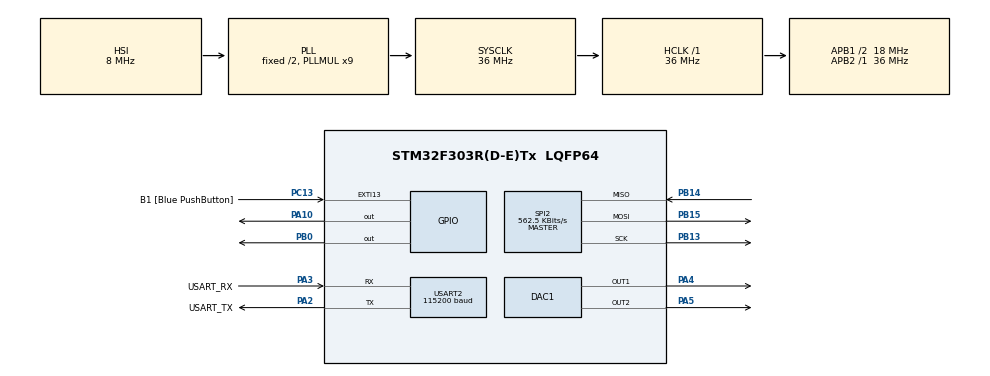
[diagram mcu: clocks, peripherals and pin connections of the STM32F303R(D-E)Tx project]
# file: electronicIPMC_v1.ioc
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DAC1.DAC_OutputBuffer=DAC_OUTPUTBUFFER_ENABLE
DAC1.DAC_OutputBuffer2=DAC_OUTPUTBUFFER_ENABLE
Mcu.Family=STM32F3
Mcu.Name=STM32F303R(D-E)Tx
Mcu.Package=LQFP64
NVIC.PriorityGroup=NVIC_PRIORITYGROUP_0
NVIC.TIM2_IRQn=true\:0\:0\:false\:false\:true\:true\:true\:true
NVIC.USART2_IRQn=true\:0\:0\:false\:false\:true\:true\:true\:true
PA10.Signal=GPIO_Output
PA13.GPIO_Label=TMS
PA13.Mode=Serial_Wire
PA13.Signal=SYS_JTMS-SWDIO
PA14.GPIO_Label=TCK
PA14.Mode=Serial_Wire
PA14.Signal=SYS_JTCK-SWCLK
PA2.GPIO_Label=USART_TX
PA2.GPIO_Mode=GPIO_MODE_AF_PP
PA2.GPIO_PuPd=GPIO_NOPULL
PA2.GPIO_Speed=GPIO_SPEED_FREQ_LOW
PA2.Mode=Asynchronous
PA2.Signal=USART2_TX
PA3.GPIO_Label=USART_RX
PA3.GPIO_Mode=GPIO_MODE_AF_PP
PA3.GPIO_PuPd=GPIO_NOPULL
PA3.GPIO_Speed=GPIO_SPEED_FREQ_LOW
PA3.Mode=Asynchronous
PA3.Signal=USART2_RX
PA4.Signal=SharedAnalog_PA4
PA5.Signal=SharedAnalog_PA5
PB0.Signal=GPIO_Output
PB13.Mode=Full_Duplex_Master
PB13.Signal=SPI2_SCK
PB14.Mode=Full_Duplex_Master
PB14.Signal=SPI2_MISO
PB15.Mode=Full_Duplex_Master
PB15.Signal=SPI2_MOSI
PB3.GPIO_Label=SWO
PB3.Signal=SYS_JTDO-TRACESWO
PC13.GPIO_Label=B1 [Blue PushButton]
PC13.GPIO_ModeDefaultEXTI=GPIO_MODE_IT_FALLING
PC13.Signal=GPXTI13
PC14-OSC32_IN.Mode=LSE-External-Oscillator
PC14-OSC32_IN.Signal=RCC_OSC32_IN
PC15-OSC32_OUT.Mode=LSE-External-Oscillator
PC15-OSC32_OUT.Signal=RCC_OSC32_OUT
PF0-OSC_IN.Mode=HSE-External-Clock-Source
PF0-OSC_IN.Signal=RCC_OSC_IN
PF1-OSC_OUT.Signal=RCC_OSC_OUT
ProjectManager.HeapSize=0x200
ProjectManager.StackSize=0x400
ProjectManager.TargetToolchain=STM32CubeIDE
RCC.AHBFreq_Value=36000000
RCC.APB1CLKDivider=RCC_HCLK_DIV2
RCC.APB1Freq_Value=18000000
RCC.APB1TimFreq_Value=36000000
RCC.APB2Freq_Value=36000000
RCC.APB2TimFreq_Value=36000000
RCC.CortexFreq_Value=36000000
RCC.HCLKFreq_Value=36000000
RCC.HSE_VALUE=8000000
RCC.HSI_VALUE=8000000
RCC.PLLM=8
RCC.PLLMUL=RCC_PLL_MUL9
RCC.PLLN=336
RCC.PLLP=RCC_PLLP_DIV4
RCC.PLLQ=7
RCC.RCC_PLLsource_Clock_Source_FROM_HSE=RCC_HSE_PREDIV_DIV2
RCC.SYSCLKFreq_VALUE=36000000
RCC.SYSCLKSourceVirtual=RCC_SYSCLKSOURCE_PLLCLK
RCC.USBFreq_Value=36000000
SH.SharedAnalog_PA4.0=GPIO_Analog
SH.SharedAnalog_PA4.1=DAC1_OUT1,DAC_OUT1
SH.SharedAnalog_PA5.0=GPIO_Analog
SH.SharedAnalog_PA5.1=DAC1_OUT2,Enable_DAC_OUT2
SPI2.BaudRatePrescaler=SPI_BAUDRATEPRESCALER_32
SPI2.CalculateBaudRate=562.5 KBits/s
SPI2.DataSize=SPI_DATASIZE_8BIT
SPI2.Direction=SPI_DIRECTION_2LINES
SPI2.Mode=SPI_MODE_MASTER
SPI2.VirtualType=VM_MASTER
TIM2.AutoReloadPreload=TIM_AUTORELOAD_PRELOAD_ENABLE
TIM2.Period=11999
TIM3.AutoReloadPreload=TIM_AUTORELOAD_PRELOAD_ENABLE
TIM3.Period=11999
USART2.BaudRate=115200
USART2.VirtualMode-Asynchronous=VM_ASYNC
VP_TIM2_VS_ClockSourceINT.Mode=Internal
VP_TIM3_VS_ClockSourceINT.Mode=Internal
board=NUCLEO-F303RE

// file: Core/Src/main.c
/* USER CODE BEGIN Header */
/**
  ******************************************************************************
  * @file           : main.c
  * @brief          : Main program body
  ******************************************************************************
  * @attention
  *
  * Copyright (c) 2025 STMicroelectronics.
  * All rights reserved.
  *
  * This software is licensed under terms that can be found in the LICENSE file
  * in the root directory of this software component.
  * If no LICENSE file comes with this software, it is provided AS-IS.
  *
  ******************************************************************************
  */
/* USER CODE END Header */
#include "main.h"

/* USER CODE BEGIN Includes */
#include <stdlib.h>
#include <stdio.h>
#include <string.h>
/* USER CODE END Includes */

/* USER CODE BEGIN PTD */
#define START_COMMAND 'S'   // Command to start communication
#define STOP_COMMAND  'E'
#define RESPONSE_NUMBER 1   // Response number to send back
/* USER CODE END PTD */

DAC_HandleTypeDef hdac1;

SPI_HandleTypeDef hspi2;

TIM_HandleTypeDef htim2;
TIM_HandleTypeDef htim3;

UART_HandleTypeDef huart2;

/* USER CODE BEGIN PV */
#define RX_BUFFER_SIZE 10
uint8_t rx_byte;
uint8_t uart_rx_buffer[RX_BUFFER_SIZE];  // Almacena la cadena recibida
uint8_t temp_index = 0;            // Indice del buffer

volatile uint8_t wave_type = 0; // 0 = Sinusoidal, 1 = Square, 2 = Sawtooth, 3 = Triangular

//#define QUARTER_WAVE_POINTS 50 // Points for one-quarter of the wave
//const uint16_t sine_wave[QUARTER_WAVE_POINTS] = {
//		2047, 2111, 2175, 2239, 2303, 2367, 2430, 2493, 2556, 2618, 2679, 2740, 2800, 2859, 2918, 2976, 3033, 3089, 3143, 3197, 3250, 3301, 3351, 3400, 3448, 3494, 3539, 3582, 3624, 3664, 3703, 3740, 3775, 3808, 3840, 3870, 3899, 3925, 3950, 3972, 3993, 4012, 4029, 4044, 4057, 4068, 4077, 4084, 4089, 4092
//		};

#define SINE_WAVE_POINTS 200
const uint16_t sine_wave[SINE_WAVE_POINTS] = {
		1737, 1785, 1834, 1882, 1931, 1979, 2027, 2075, 2122, 2169, 2216, 2262, 2307, 2352, 2397, 2441, 2484, 2526, 2568, 2608, 2648, 2687, 2725, 2762, 2798, 2833, 2867, 2900, 2932, 2962, 2991, 3019, 3046, 3072, 3096, 3118, 3140, 3160, 3179, 3196, 3212, 3226, 3239, 3250, 3260, 3268, 3275, 3281, 3284, 3287, 3288, 3287, 3284, 3281, 3275, 3268, 3260, 3250, 3239, 3226, 3212, 3196, 3179, 3160, 3140, 3118, 3096, 3072, 3046, 3019, 2991, 2962, 2932, 2900, 2867, 2833, 2798, 2762, 2725, 2687, 2648, 2608, 2568, 2526, 2484, 2441, 2397, 2352, 2307, 2262, 2216, 2169, 2122, 2075, 2027, 1979, 1931, 1882, 1834, 1785, 1737, 1688, 1639, 1591,
		1542, 1494, 1446, 1398, 1351, 1304, 1257, 1211, 1166, 1121, 1076, 1032, 989, 947, 905, 865, 825, 786, 748, 711, 675, 640, 606, 573, 541, 511, 482, 454, 427, 401, 377, 355, 333, 313, 294, 277, 261, 247, 234, 223, 213, 205, 198, 192, 189, 186, 186, 186, 189, 192, 198, 205, 213, 223, 234, 247, 261, 277, 294, 313, 333, 355, 377, 401, 427, 454, 482, 511, 541, 573, 606, 640, 675, 711, 748, 786, 825, 865, 905, 947, 989, 1032, 1076, 1121, 1166, 1211, 1257, 1304, 1351, 1398, 1446, 1494, 1542, 1591, 1639, 1688
		};

// TO GENERATE WITH 1.67V amplitude
//const uint16_t sine_wave[SINE_WAVE_POINTS] = {
//		2047, 2108, 2169, 2230, 2291, 2351, 2412, 2471, 2531, 2590, 2648, 2706, 2764, 2820, 2876, 2931, 2985, 3038, 3090, 3141, 3192, 3240, 3288, 3335, 3380, 3424, 3467, 3508, 3547, 3586, 3622, 3658, 3691, 3723, 3754, 3782, 3809, 3834, 3858, 3879, 3899, 3917, 3933, 3948, 3960, 3971, 3979, 3986, 3991, 3994, 3995, 3994, 3991, 3986, 3979, 3971, 3960, 3948, 3933, 3917, 3899, 3879, 3858, 3834, 3809, 3782, 3754, 3723, 3691, 3658, 3622, 3586, 3547, 3508, 3467, 3424, 3380, 3335, 3288, 3240, 3192, 3141, 3090, 3038, 2985, 2931, 2876, 2820, 2764, 2706, 2648, 2590, 2531, 2471, 2412, 2351, 2291, 2230, 2169, 2108, 2047, 1985, 1924, 1863, 1802, 1742, 1681, 1622, 1562, 1503, 1445, 1387, 1329, 1273, 1217, 1162, 1108, 1055, 1003, 952, 901, 853, 805, 758, 713, 669, 626, 585, 546,
//		507, 471, 435, 402, 370, 339, 311, 284, 259, 235, 214, 194, 176, 160, 145, 133, 122, 114, 107, 102, 99, 99, 99, 102, 107, 114, 122, 133, 145, 160, 176, 194, 214, 235, 259, 284, 311, 339, 370, 402, 435, 471, 507, 546, 585, 626, 669, 713, 758, 805, 853, 901, 952, 1003, 1055, 1108, 1162, 1217, 1273, 1329, 1387, 1445, 1503, 1562, 1622, 1681, 1742, 1802, 1863, 1924, 1985
//		};

#define SAWTOOTH_POINTS 200
const uint16_t sawtooth_wave[SAWTOOTH_POINTS] = {
		186, 201, 217, 232, 248, 263, 279, 295, 310, 326, 341, 357, 373, 388, 404, 419, 435, 450, 466, 482, 497, 513, 528, 544, 560, 575, 591, 606, 622, 638, 653, 669, 684, 700, 715, 731, 747, 762, 778, 793, 809, 825, 840, 856, 871, 887, 903, 918, 934, 949, 965, 980, 996, 1012, 1027, 1043, 1058, 1074, 1090, 1105, 1121, 1136, 1152, 1168, 1183, 1199, 1214, 1230, 1245, 1261, 1277, 1292, 1308, 1323, 1339, 1355, 1370, 1386, 1401, 1417, 1433, 1448, 1464, 1479, 1495, 1510, 1526, 1542, 1557, 1573, 1588, 1604, 1620, 1635, 1651, 1666, 1682, 1698, 1713, 1729, 1744, 1760, 1775, 1791, 1807, 1822, 1838, 1853, 1869, 1885, 1900, 1916, 1931, 1947, 1963, 1978, 1994, 2009, 2025, 2040, 2056, 2072, 2087, 2103, 2118, 2134, 2150, 2165, 2181, 2196, 2212, 2228, 2243, 2259, 2274, 2290, 2305, 2321, 2337, 2352, 2368, 2383, 2399, 2415, 2430, 2446, 2461, 2477, 2493, 2508, 2524, 2539, 2555, 2570, 2586, 2602, 2617, 2633, 2648, 2664, 2680, 2695, 2711, 2726, 2742, 2758, 2773, 2789, 2804, 2820, 2835, 2851, 2867, 2882, 2898, 2913, 2929, 2945, 2960, 2976, 2991, 3007, 3023, 3038, 3054, 3069, 3085, 3100, 3116, 3132, 3147, 3163, 3178, 3194, 3210, 3225, 3241, 3256, 3272, 3288
};

const uint16_t square_wave[2] = {0, 4095};
/* USER CODE END PV */

void SystemClock_Config(void);
static void MX_GPIO_Init(void);
static void MX_USART2_UART_Init(void);
static void MX_DAC1_Init(void);
static void MX_TIM2_Init(void);
static void MX_SPI2_Init(void);
static void MX_TIM3_Init(void);
/* USER CODE BEGIN PFP */
void MCP41100_SetValue(uint8_t value, uint8_t sensor);
uint8_t calculateValuePotentiometer(uint8_t amplitude);
/* USER CODE END PFP */

/* USER CODE BEGIN 0 */
void WaitForConnection(void)
{
    const char msg[] = "IPMC_READY\n";
    uint8_t received_byte = 0;

    while (received_byte != START_COMMAND)
    {
        HAL_UART_Transmit(&huart2, (uint8_t*)msg, sizeof(msg) - 1, HAL_MAX_DELAY);
        HAL_UART_Receive(&huart2, &received_byte, 1, 1000);  // Timeout de 1 segundo
        if (received_byte != START_COMMAND) {
        	HAL_Delay(1000);
        }
    }
    uint8_t response = RESPONSE_NUMBER;
	HAL_UART_Transmit(&huart2, &response, sizeof(response), HAL_MAX_DELAY);
}
/* USER CODE END 0 */

int main(void)
{

  /* MCU Configuration--------------------------------------------------------*/

  /* Reset of all peripherals, Initializes the Flash interface and the Systick. */
  HAL_Init();

  /* Configure the system clock */
  SystemClock_Config();

  /* Initialize all configured peripherals */
  MX_GPIO_Init();
  MX_USART2_UART_Init();
  MX_DAC1_Init();
  MX_TIM2_Init();
  MX_SPI2_Init();
  MX_TIM3_Init();
  /* USER CODE BEGIN 2 */
  HAL_DAC_Start(&hdac1, DAC_CHANNEL_1);
    HAL_DAC_Start(&hdac1, DAC_CHANNEL_2);

//    uint8_t buff_start = 0;
//    while(buff_start != START_COMMAND){
//    	  HAL_UART_Receive(&huart2, (uint8_t*)(&buff_start),sizeof(buff_start),1000);
//    }
//    uint8_t response = RESPONSE_NUMBER;
//    HAL_UART_Transmit(&huart2, &response, sizeof(response), HAL_MAX_DELAY);
    WaitForConnection();

  /* Start the Timer in Interrupt mode */
    HAL_TIM_Base_Start_IT(&htim2);

    HAL_UART_Receive_IT(&huart2, &rx_byte, 1);

//    HAL_GPIO_WritePin(GPIOB, GPIO_PIN_13, GPIO_PIN_SET);
  /* USER CODE END 2 */

  /* Infinite loop */
  while (1)
  {

  }
}

void SystemClock_Config(void)
{
  RCC_OscInitTypeDef RCC_OscInitStruct = {0};
  RCC_ClkInitTypeDef RCC_ClkInitStruct = {0};
  RCC_PeriphCLKInitTypeDef PeriphClkInit = {0};

  /** Initializes the RCC Oscillators according to the specified parameters
  * in the RCC_OscInitTypeDef structure.
  */
  RCC_OscInitStruct.OscillatorType = RCC_OSCILLATORTYPE_HSI;
  RCC_OscInitStruct.HSIState = RCC_HSI_ON;
  RCC_OscInitStruct.HSICalibrationValue = RCC_HSICALIBRATION_DEFAULT;
  RCC_OscInitStruct.PLL.PLLState = RCC_PLL_ON;
  RCC_OscInitStruct.PLL.PLLSource = RCC_PLLSOURCE_HSI;
  RCC_OscInitStruct.PLL.PLLMUL = RCC_PLL_MUL9;
  RCC_OscInitStruct.PLL.PREDIV = RCC_PREDIV_DIV1;
  if (HAL_RCC_OscConfig(&RCC_OscInitStruct) != HAL_OK)
  {
    Error_Handler();
  }

  /** Initializes the CPU, AHB and APB buses clocks
  */
  RCC_ClkInitStruct.ClockType = RCC_CLOCKTYPE_HCLK|RCC_CLOCKTYPE_SYSCLK
                              |RCC_CLOCKTYPE_PCLK1|RCC_CLOCKTYPE_PCLK2;
  RCC_ClkInitStruct.SYSCLKSource = RCC_SYSCLKSOURCE_PLLCLK;
  RCC_ClkInitStruct.AHBCLKDivider = RCC_SYSCLK_DIV1;
  RCC_ClkInitStruct.APB1CLKDivider = RCC_HCLK_DIV2;
  RCC_ClkInitStruct.APB2CLKDivider = RCC_HCLK_DIV1;

  if (HAL_RCC_ClockConfig(&RCC_ClkInitStruct, FLASH_LATENCY_1) != HAL_OK)
  {
    Error_Handler();
  }
  PeriphClkInit.PeriphClockSelection = RCC_PERIPHCLK_USART2|RCC_PERIPHCLK_TIM2
                              |RCC_PERIPHCLK_TIM34;
  PeriphClkInit.Usart2ClockSelection = RCC_USART2CLKSOURCE_PCLK1;
  PeriphClkInit.Tim2ClockSelection = RCC_TIM2CLK_HCLK;
  PeriphClkInit.Tim34ClockSelection = RCC_TIM34CLK_HCLK;
  if (HAL_RCCEx_PeriphCLKConfig(&PeriphClkInit) != HAL_OK)
  {
    Error_Handler();
  }
}

static void MX_DAC1_Init(void)
{

  DAC_ChannelConfTypeDef sConfig = {0};

  /** DAC Initialization
  */
  hdac1.Instance = DAC1;
  if (HAL_DAC_Init(&hdac1) != HAL_OK)
  {
    Error_Handler();
  }

  /** DAC channel OUT1 config
  */
  sConfig.DAC_Trigger = DAC_TRIGGER_NONE;
  sConfig.DAC_OutputBuffer = DAC_OUTPUTBUFFER_ENABLE;
  if (HAL_DAC_ConfigChannel(&hdac1, &sConfig, DAC_CHANNEL_1) != HAL_OK)
  {
    Error_Handler();
  }

  /** DAC channel OUT2 config
  */
  if (HAL_DAC_ConfigChannel(&hdac1, &sConfig, DAC_CHANNEL_2) != HAL_OK)
  {
    Error_Handler();
  }

}

static void MX_SPI2_Init(void)
{

  /* SPI2 parameter configuration*/
  hspi2.Instance = SPI2;
  hspi2.Init.Mode = SPI_MODE_MASTER;
  hspi2.Init.Direction = SPI_DIRECTION_2LINES;
  hspi2.Init.DataSize = SPI_DATASIZE_8BIT;
  hspi2.Init.CLKPolarity = SPI_POLARITY_LOW;
  hspi2.Init.CLKPhase = SPI_PHASE_1EDGE;
  hspi2.Init.NSS = SPI_NSS_SOFT;
  hspi2.Init.BaudRatePrescaler = SPI_BAUDRATEPRESCALER_32;
  hspi2.Init.FirstBit = SPI_FIRSTBIT_MSB;
  hspi2.Init.TIMode = SPI_TIMODE_DISABLE;
  hspi2.Init.CRCCalculation = SPI_CRCCALCULATION_DISABLE;
  hspi2.Init.CRCPolynomial = 7;
  hspi2.Init.CRCLength = SPI_CRC_LENGTH_DATASIZE;
  hspi2.Init.NSSPMode = SPI_NSS_PULSE_ENABLE;
  if (HAL_SPI_Init(&hspi2) != HAL_OK)
  {
    Error_Handler();
  }

}

static void MX_TIM2_Init(void)
{

  TIM_ClockConfigTypeDef sClockSourceConfig = {0};
  TIM_MasterConfigTypeDef sMasterConfig = {0};

  htim2.Instance = TIM2;
  htim2.Init.Prescaler = 0;
  htim2.Init.CounterMode = TIM_COUNTERMODE_UP;
  htim2.Init.Period = 11999;
  htim2.Init.ClockDivision = TIM_CLOCKDIVISION_DIV1;
  htim2.Init.AutoReloadPreload = TIM_AUTORELOAD_PRELOAD_ENABLE;
  if (HAL_TIM_Base_Init(&htim2) != HAL_OK)
  {
    Error_Handler();
  }
  sClockSourceConfig.ClockSource = TIM_CLOCKSOURCE_INTERNAL;
  if (HAL_TIM_ConfigClockSource(&htim2, &sClockSourceConfig) != HAL_OK)
  {
    Error_Handler();
  }
  sMasterConfig.MasterOutputTrigger = TIM_TRGO_RESET;
  sMasterConfig.MasterSlaveMode = TIM_MASTERSLAVEMODE_DISABLE;
  if (HAL_TIMEx_MasterConfigSynchronization(&htim2, &sMasterConfig) != HAL_OK)
  {
    Error_Handler();
  }

}

static void MX_TIM3_Init(void)
{

  TIM_ClockConfigTypeDef sClockSourceConfig = {0};
  TIM_MasterConfigTypeDef sMasterConfig = {0};

  htim3.Instance = TIM3;
  htim3.Init.Prescaler = 0;
  htim3.Init.CounterMode = TIM_COUNTERMODE_UP;
  htim3.Init.Period = 11999;
  htim3.Init.ClockDivision = TIM_CLOCKDIVISION_DIV1;
  htim3.Init.AutoReloadPreload = TIM_AUTORELOAD_PRELOAD_ENABLE;
  if (HAL_TIM_Base_Init(&htim3) != HAL_OK)
  {
    Error_Handler();
  }
  sClockSourceConfig.ClockSource = TIM_CLOCKSOURCE_INTERNAL;
  if (HAL_TIM_ConfigClockSource(&htim3, &sClockSourceConfig) != HAL_OK)
  {
    Error_Handler();
  }
  sMasterConfig.MasterOutputTrigger = TIM_TRGO_RESET;
  sMasterConfig.MasterSlaveMode = TIM_MASTERSLAVEMODE_DISABLE;
  if (HAL_TIMEx_MasterConfigSynchronization(&htim3, &sMasterConfig) != HAL_OK)
  {
    Error_Handler();
  }

}

static void MX_USART2_UART_Init(void)
{

  huart2.Instance = USART2;
  huart2.Init.BaudRate = 115200;
  huart2.Init.WordLength = UART_WORDLENGTH_8B;
  huart2.Init.StopBits = UART_STOPBITS_1;
  huart2.Init.Parity = UART_PARITY_NONE;
  huart2.Init.Mode = UART_MODE_TX_RX;
  huart2.Init.HwFlowCtl = UART_HWCONTROL_NONE;
  huart2.Init.OverSampling = UART_OVERSAMPLING_16;
  huart2.Init.OneBitSampling = UART_ONE_BIT_SAMPLE_DISABLE;
  huart2.AdvancedInit.AdvFeatureInit = UART_ADVFEATURE_NO_INIT;
  if (HAL_UART_Init(&huart2) != HAL_OK)
  {
    Error_Handler();
  }

}

static void MX_GPIO_Init(void)
{
  GPIO_InitTypeDef GPIO_InitStruct = {0};

  /* GPIO Ports Clock Enable */
  __HAL_RCC_GPIOC_CLK_ENABLE();
  __HAL_RCC_GPIOF_CLK_ENABLE();
  __HAL_RCC_GPIOA_CLK_ENABLE();
  __HAL_RCC_GPIOB_CLK_ENABLE();

  /*Configure GPIO pin Output Level */
  HAL_GPIO_WritePin(GPIOB, GPIO_PIN_0, GPIO_PIN_RESET);

  /*Configure GPIO pin Output Level */
  HAL_GPIO_WritePin(GPIOA, GPIO_PIN_10, GPIO_PIN_RESET);

  /*Configure GPIO pin : B1_Pin */
  GPIO_InitStruct.Pin = B1_Pin;
  GPIO_InitStruct.Mode = GPIO_MODE_IT_FALLING;
  GPIO_InitStruct.Pull = GPIO_NOPULL;
  HAL_GPIO_Init(B1_GPIO_Port, &GPIO_InitStruct);

  /*Configure GPIO pin : PB0 */
  GPIO_InitStruct.Pin = GPIO_PIN_0;
  GPIO_InitStruct.Mode = GPIO_MODE_OUTPUT_PP;
  GPIO_InitStruct.Pull = GPIO_NOPULL;
  GPIO_InitStruct.Speed = GPIO_SPEED_FREQ_LOW;
  HAL_GPIO_Init(GPIOB, &GPIO_InitStruct);

  /*Configure GPIO pin : PA10 */
  GPIO_InitStruct.Pin = GPIO_PIN_10;
  GPIO_InitStruct.Mode = GPIO_MODE_OUTPUT_PP;
  GPIO_InitStruct.Pull = GPIO_NOPULL;
  GPIO_InitStruct.Speed = GPIO_SPEED_FREQ_LOW;
  HAL_GPIO_Init(GPIOA, &GPIO_InitStruct);

}

/* USER CODE BEGIN 4 */
uint16_t get_sine_value() {
    static uint16_t index = 0;

    uint16_t value = sine_wave[index];

    // Increment the index and wrap around for the next cycle
    index = (index + 1) % SINE_WAVE_POINTS;

    return value;
}

uint16_t get_sawtooth_value() {
    static uint8_t index = 0;
    uint16_t value = sawtooth_wave[index];
    index = (index + 1) % SAWTOOTH_POINTS;  // Increment index and restart at startup
    return value;
}

uint16_t get_triangular_value() {
    static uint8_t index = 0;       // Current index in the wave table
    static int8_t direction = 1;    // Direction: 1 for ascending, -1 for descending

    // Get the current value from the sawtooth wave table
    uint16_t value = sawtooth_wave[index];

    // Update the index based on the current direction
    if (direction == 1) { // Ascending
        if (index == SAWTOOTH_POINTS - 2) { // If at or near the maximum value
            direction = -1; // Switch to descending
            index -= 2;     // Ensure the next step starts descending
        } else {
            index += 2; // Move to the next value
        }
    } else { // Descending
        if (index <= 1) { // If at or near the minimum value
            direction = 1; // Switch to ascending
            index += 2;    // Ensure the next step starts ascending
        } else {
            index-=2; // Move to the previous value
        }
    }

    return value; // Return the current wave value
}

uint16_t get_square_value() {
	static uint8_t counter = 0; // Counter to track the current step

	// Determine value directly based on counter
	uint16_t value = (counter < SAWTOOTH_POINTS / 2) ? 3288 : 0;

	// Increment counter and wrap around at the end of the cycle
	counter = (counter + 1) % SAWTOOTH_POINTS;

	// Return the current value
	return value;
}

void HAL_TIM_PeriodElapsedCallback(TIM_HandleTypeDef *htim){
	uint16_t valueAct;
	switch (wave_type) {
		case 0: // Sinusoidal
			valueAct = get_sine_value();
			break;
		case 1: // Square
			valueAct = get_square_value();
			break;
		case 2: // Sawtooth
			valueAct = get_sawtooth_value();
			break;
		case 3: // Triangular
			valueAct = get_triangular_value();
			break;
		default:
			valueAct = 0;
			break;
	}
	HAL_DAC_SetValue(&hdac1,DAC_CHANNEL_1, DAC_ALIGN_12B_R, valueAct);
	HAL_DAC_SetValue(&hdac1,DAC_CHANNEL_2, DAC_ALIGN_12B_R, valueAct+25); // Añado 25 para que salgan identicas
//	HAL_DACEx_DualSetValue(&hdac1, DAC_ALIGN_12B_R, valueAct, valueAct);
}

void parse_command(uint8_t *command) {
    // Check if it's a frequency command
	switch (command[0]) {
		case 'T':{
			wave_type = atoi((char *)(command + 2));
//			uint8_t response = 1;
//			HAL_UART_Transmit(&huart2, &response, 1, HAL_MAX_DELAY); // Send 1 (success)
			break;
		}

	    case 'F': {
	        // Handle frequency command
	        uint16_t frequency;
	        frequency = atoi((char *)(command + 2)); // Convert string to integer
	        __HAL_TIM_SET_AUTORELOAD(&htim2, 3599999UL / frequency);
	        uint8_t response = 1;
	        HAL_UART_Transmit(&huart2, &response, 1, HAL_MAX_DELAY); // Send 1 (success)
	        break;
	    }

	    case 'A': {
	        // Handle amplitude command
	        uint8_t amplitude;
	        amplitude = atoi((char *)(command + 2)); // Convert string to integer
	        //////////////////// AQUI PONER EL CODIGO NECESARIO PARA CAMBIAR LA AMPLITUD
	        uint8_t stepPot;
	        stepPot = calculateValuePotentiometer(amplitude);
	        if (command[1] == '1'){
	        	MCP41100_SetValue(stepPot, 1);
			}
			if (command[1] == '2'){
				MCP41100_SetValue(stepPot, 2);
			}
			if (command[1] == '0'){
				MCP41100_SetValue(stepPot, 0);
			}
	        uint8_t response = 1;
	        HAL_UART_Transmit(&huart2, &response, 1, HAL_MAX_DELAY); // Send 1 (success)
	        break;
	    }

	    default:
	        // Handle invalid command
	    	uint8_t response = 0;
	        HAL_UART_Transmit(&huart2, &response, 1, HAL_MAX_DELAY); // Send 0 (error)
	        break;
	}
}

void HAL_UART_RxCpltCallback(UART_HandleTypeDef *huart) {
    if (huart->Instance == USART2) {
//        HAL_GPIO_TogglePin(GPIOB, GPIO_PIN_13);

        if (rx_byte == STOP_COMMAND) {
        	uint8_t response = RESPONSE_NUMBER;
        	HAL_UART_Transmit(&huart2, &response, sizeof(response), HAL_MAX_DELAY);
        	NVIC_SystemReset();
        }

        if (rx_byte == '\n') {        // Detectar fin de la cadena (por ejemplo, '\n')
			uart_rx_buffer[temp_index] = '\0';  // Terminar la cadena
			parse_command(uart_rx_buffer);

			temp_index = 0;  // Reiniciar índice para el siguiente número
		} else {
			if (temp_index < RX_BUFFER_SIZE - 1) {
				uart_rx_buffer[temp_index++] = rx_byte;  // Almacenar el carácter en el buffer
			} else {
				// Buffer lleno, manejar error
				char error_msg[] = "Error: Buffer overflow\r\n";
				HAL_UART_Transmit(&huart2, (uint8_t *)error_msg, sizeof(error_msg) - 1, HAL_MAX_DELAY);
				temp_index = 0;  // Reiniciar el buffer
			}
		}
        HAL_UART_Receive_IT(&huart2, (uint8_t *)&rx_byte, 1);
    }
}

void MCP41100_SetValue(uint8_t value, uint8_t sensor) {
    // Asegúrate de que el valor esté en el rango de 0 a 255
    if (value > 255) value = 255;

    // Prepara los datos a enviar
    uint8_t data[2];
    data[0] = 0x11; // Comando para escribir al Potenciómetro 0
    data[1] = value; // Valor del potenciómetro
    if (sensor == 1 || sensor == 0){
		// Baja NSS (selecciona el dispositivo)
		HAL_GPIO_WritePin(GPIOB, GPIO_PIN_0, GPIO_PIN_RESET);
//		HAL_GPIO_WritePin(GPIOB, GPIO_PIN_12, GPIO_PIN_RESET);
		// Envía los datos al MCP41100
		HAL_SPI_Transmit(&hspi2, data, 2, HAL_MAX_DELAY);
		// Sube NSS (deselecciona el dispositivo)
		HAL_GPIO_WritePin(GPIOB, GPIO_PIN_0, GPIO_PIN_SET);
    }
    if (sensor == 2 || sensor == 0){
		HAL_GPIO_WritePin(GPIOA, GPIO_PIN_10, GPIO_PIN_RESET);
//		HAL_GPIO_WritePin(GPIOB, GPIO_PIN_11, GPIO_PIN_RESET);
		HAL_SPI_Transmit(&hspi2, data, 2, HAL_MAX_DELAY);
		HAL_GPIO_WritePin(GPIOA, GPIO_PIN_10, GPIO_PIN_SET);
    }
}

uint8_t calculateValuePotentiometer(uint8_t amplitude) {
    // Define circuit parameters
    const float V_in_pp = 2.47;          // Input peak-to-peak voltage
    const float V_out_pp_max = 20.0;     // Maximum output peak-to-peak voltage
    const float A_v_max = V_out_pp_max / V_in_pp; // Maximum gain (8.1)
    // Validate that the received value is within the allowed range (0 to 20)
    if (amplitude > 20) {
        amplitude = 20; // Limit to the maximum allowed
    }

    // Calculate the desired gain from the amplitude
    float desired_gain = 1.0 + ((float)amplitude / 20.0) * (A_v_max - 1.0);

    // Calculate the potentiometer step
    uint8_t step = (uint8_t)(255.0 / (desired_gain - 1.0));

    // Return the calculated step
    return step;
}

/* USER CODE END 4 */

void Error_Handler(void)
{
  __disable_irq();
  while (1)
  {
  }
}
